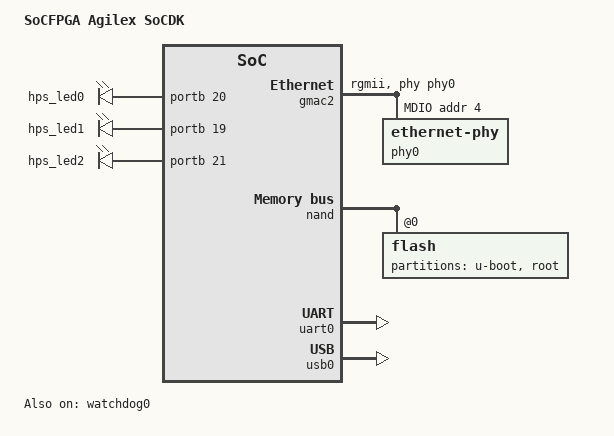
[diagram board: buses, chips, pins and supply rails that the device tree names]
// SPDX-License-Identifier:     GPL-2.0
/*
 * Copyright (C) 2019, Intel Corporation
 */
#include "socfpga_agilex.dtsi"

/ {
	model = "SoCFPGA Agilex SoCDK";

	aliases {
		serial0 = &uart0;
		ethernet0 = &gmac0;
		ethernet1 = &gmac1;
		ethernet2 = &gmac2;
	};

	chosen {
		stdout-path = "serial0:115200n8";
	};

	leds {
		compatible = "gpio-leds";
		led0 {
			label = "hps_led0";
			gpios = <&portb 20 GPIO_ACTIVE_HIGH>;
		};

		led1 {
			label = "hps_led1";
			gpios = <&portb 19 GPIO_ACTIVE_HIGH>;
		};

		led2 {
			label = "hps_led2";
			gpios = <&portb 21 GPIO_ACTIVE_HIGH>;
		};
	};

	memory {
		device_type = "memory";
		/* We expect the bootloader to fill in the reg */
		reg = <0 0 0 0>;
	};
};

&gpio1 {
	status = "okay";
};

&gmac2 {
	status = "okay";
	phy-mode = "rgmii";
	phy-handle = <&phy0>;

	max-frame-size = <9000>;

	mdio0 {
		#address-cells = <1>;
		#size-cells = <0>;
		compatible = "snps,dwmac-mdio";
		phy0: ethernet-phy@0 {
			reg = <4>;

			txd0-skew-ps = <0>; /* -420ps */
			txd1-skew-ps = <0>; /* -420ps */
			txd2-skew-ps = <0>; /* -420ps */
			txd3-skew-ps = <0>; /* -420ps */
			rxd0-skew-ps = <420>; /* 0ps */
			rxd1-skew-ps = <420>; /* 0ps */
			rxd2-skew-ps = <420>; /* 0ps */
			rxd3-skew-ps = <420>; /* 0ps */
			txen-skew-ps = <0>; /* -420ps */
			txc-skew-ps = <900>; /* 0ps */
			rxdv-skew-ps = <420>; /* 0ps */
			rxc-skew-ps = <1680>; /* 780ps */
		};
	};
};

&nand {
	status = "okay";

	flash@0 {
		#address-cells = <1>;
		#size-cells = <1>;
		reg = <0>;
		nand-bus-width = <16>;

		partition@0 {
			label = "u-boot";
			reg = <0 0x200000>;
		};
		partition@200000 {
			label = "root";
			reg = <0x200000 0x3fe00000>;
		};
	};
};

&osc1 {
	clock-frequency = <25000000>;
};

&uart0 {
	status = "okay";
};

&usb0 {
	status = "okay";
	disable-over-current;
};

&watchdog0 {
	status = "okay";
};
